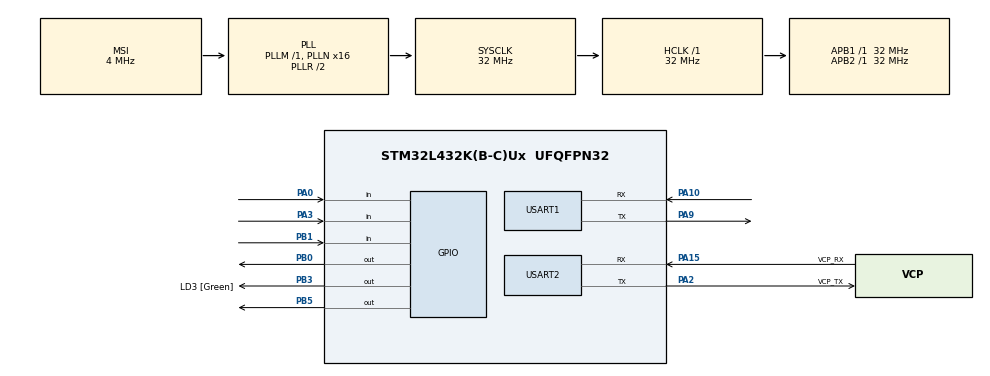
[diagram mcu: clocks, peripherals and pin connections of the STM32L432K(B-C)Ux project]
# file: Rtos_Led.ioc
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Dma.Request0=USART1_RX
Dma.USART1_RX.0.Direction=DMA_PERIPH_TO_MEMORY
Dma.USART1_RX.0.Instance=DMA1_Channel5
Dma.USART1_RX.0.MemDataAlignment=DMA_MDATAALIGN_BYTE
Dma.USART1_RX.0.MemInc=DMA_MINC_ENABLE
Dma.USART1_RX.0.Mode=DMA_CIRCULAR
Dma.USART1_RX.0.PeriphDataAlignment=DMA_PDATAALIGN_BYTE
Dma.USART1_RX.0.PeriphInc=DMA_PINC_DISABLE
Dma.USART1_RX.0.Priority=DMA_PRIORITY_LOW
FREERTOS.BinarySemaphores01=uartSema,Static,uartSemaControlBlock;counterSema2,Static,counterSema2ControlBlock
FREERTOS.Queues01=RotaryEncoderQueue,16,InputEvent,0,Static,RotaryEncoderQueueBuffer,RotaryEncoderQueueControlBlock
FREERTOS.Tasks01=LedTask,24,128,StartLedTask,Default,NULL,Static,LedTaskBuffer,LedTaskControlBlock;EncoderTask,8,128,StartEncoderTask,Default,NULL,Static,EncoderTaskBuffer,EncoderTaskControlBlock;defaultTask,8,128,StartDefaultTask,As weak,NULL,Dynamic,NULL,NULL
FREERTOS.configUSE_NEWLIB_REENTRANT=1
Mcu.Family=STM32L4
Mcu.Name=STM32L432K(B-C)Ux
Mcu.Package=UFQFPN32
NVIC.DMA1_Channel5_IRQn=true\:5\:0\:false\:false\:true\:true\:false\:true\:true
NVIC.PriorityGroup=NVIC_PRIORITYGROUP_4
NVIC.TIM6_DAC_IRQn=true\:15\:0\:false\:false\:true\:false\:false\:true\:true
NVIC.TimeBase=TIM6_DAC_IRQn
NVIC.TimeBaseIP=TIM6
NVIC.USART1_IRQn=true\:5\:0\:false\:false\:true\:true\:true\:true\:true
PA0.Signal=GPIO_Input
PA10.Mode=Asynchronous
PA10.Signal=USART1_RX
PA13\ (JTMS-SWDIO).GPIO_Label=SWDIO
PA13\ (JTMS-SWDIO).Mode=Serial_Wire
PA13\ (JTMS-SWDIO).Signal=SYS_JTMS-SWDIO
PA14\ (JTCK-SWCLK).GPIO_Label=SWCLK
PA14\ (JTCK-SWCLK).Mode=Serial_Wire
PA14\ (JTCK-SWCLK).Signal=SYS_JTCK-SWCLK
PA15\ (JTDI).GPIO_Label=VCP_RX
PA15\ (JTDI).Mode=Asynchronous
PA15\ (JTDI).Signal=USART2_RX
PA2.GPIO_Label=VCP_TX
PA2.Mode=Asynchronous
PA2.Signal=USART2_TX
PA3.Signal=GPIO_Input
PA9.Mode=Asynchronous
PA9.Signal=USART1_TX
PB0.Signal=GPIO_Output
PB1.Signal=GPIO_Input
PB3\ (JTDO-TRACESWO).GPIO_Label=LD3 [Green]
PB3\ (JTDO-TRACESWO).Signal=GPIO_Output
PB5.Signal=GPIO_Output
PC14-OSC32_IN\ (PC14).Mode=LSE-External-Oscillator
PC14-OSC32_IN\ (PC14).Signal=RCC_OSC32_IN
PC15-OSC32_OUT\ (PC15).Mode=LSE-External-Oscillator
PC15-OSC32_OUT\ (PC15).Signal=RCC_OSC32_OUT
ProjectManager.HeapSize=0x200
ProjectManager.StackSize=0x400
ProjectManager.TargetToolchain=STM32CubeIDE
RCC.AHBFreq_Value=32000000
RCC.APB1Freq_Value=32000000
RCC.APB1TimFreq_Value=32000000
RCC.APB2Freq_Value=32000000
RCC.APB2TimFreq_Value=32000000
RCC.CortexFreq_Value=32000000
RCC.HCLKFreq_Value=32000000
RCC.HSE_VALUE=8000000
RCC.HSI16_VALUE=16000000
RCC.HSI48_VALUE=48000000
RCC.HSI_VALUE=16000000
RCC.MSI_VALUE=4000000
RCC.PLLMUL=RCC_PLLMUL_4
RCC.PLLN=16
RCC.SYSCLKFreq_VALUE=32000000
RCC.SYSCLKSource=RCC_SYSCLKSOURCE_PLLCLK
RCC.VCOOutputFreq_Value=64000000
USART1.VirtualMode-Asynchronous=VM_ASYNC
USART2.VirtualMode-Asynchronous=VM_ASYNC
VP_FREERTOS_VS_CMSIS_V2.Mode=CMSIS_V2
VP_SYS_VS_tim6.Mode=TIM6
board=NUCLEO-L432KC

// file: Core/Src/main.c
/* USER CODE BEGIN Header */
/**
 ******************************************************************************
 * @file           : main.c
 * @brief          : Main program body
 ******************************************************************************
 * @attention
 *
 * Copyright (c) 2023 STMicroelectronics.
 * All rights reserved.
 *
 * This software is licensed under terms that can be found in the LICENSE file
 * in the root directory of this software component.
 * If no LICENSE file comes with this software, it is provided AS-IS.
 *
 ******************************************************************************
 */
/* USER CODE END Header */
#include "main.h"
#include "cmsis_os.h"

typedef StaticTask_t osStaticThreadDef_t;
typedef StaticQueue_t osStaticMessageQDef_t;
typedef StaticSemaphore_t osStaticSemaphoreDef_t;

/* USER CODE BEGIN PTD */
typedef struct  {
  bool button_pressed;
  int counter;
} InputEvent;

/* USER CODE END PTD */

/* USER CODE BEGIN PM */
#define LEDMIN 3
#define LEDMAX 11
#define LEDSTART 7

/* USER CODE END PM */
UART_HandleTypeDef huart1;
UART_HandleTypeDef huart2;
DMA_HandleTypeDef hdma_usart1_rx;

/* Definitions for LedTask */
osThreadId_t LedTaskHandle;
uint32_t LedTaskBuffer[ 128 ];
osStaticThreadDef_t LedTaskControlBlock;
const osThreadAttr_t LedTask_attributes = {
  .name = "LedTask",
  .cb_mem = &LedTaskControlBlock,
  .cb_size = sizeof(LedTaskControlBlock),
  .stack_mem = &LedTaskBuffer[0],
  .stack_size = sizeof(LedTaskBuffer),
  .priority = (osPriority_t) osPriorityNormal,
};
/* Definitions for EncoderTask */
osThreadId_t EncoderTaskHandle;
uint32_t EncoderTaskBuffer[ 128 ];
osStaticThreadDef_t EncoderTaskControlBlock;
const osThreadAttr_t EncoderTask_attributes = {
  .name = "EncoderTask",
  .cb_mem = &EncoderTaskControlBlock,
  .cb_size = sizeof(EncoderTaskControlBlock),
  .stack_mem = &EncoderTaskBuffer[0],
  .stack_size = sizeof(EncoderTaskBuffer),
  .priority = (osPriority_t) osPriorityLow,
};
/* Definitions for defaultTask */
osThreadId_t defaultTaskHandle;
const osThreadAttr_t defaultTask_attributes = {
  .name = "defaultTask",
  .stack_size = 128 * 4,
  .priority = (osPriority_t) osPriorityLow,
};
/* Definitions for RotaryEncoderQueue */
osMessageQueueId_t RotaryEncoderQueueHandle;
uint8_t RotaryEncoderQueueBuffer[ 16 * sizeof( InputEvent ) ];
osStaticMessageQDef_t RotaryEncoderQueueControlBlock;
const osMessageQueueAttr_t RotaryEncoderQueue_attributes = {
  .name = "RotaryEncoderQueue",
  .cb_mem = &RotaryEncoderQueueControlBlock,
  .cb_size = sizeof(RotaryEncoderQueueControlBlock),
  .mq_mem = &RotaryEncoderQueueBuffer,
  .mq_size = sizeof(RotaryEncoderQueueBuffer)
};
/* Definitions for uartSema */
osSemaphoreId_t uartSemaHandle;
osStaticSemaphoreDef_t uartSemaControlBlock;
const osSemaphoreAttr_t uartSema_attributes = {
  .name = "uartSema",
  .cb_mem = &uartSemaControlBlock,
  .cb_size = sizeof(uartSemaControlBlock),
};
/* Definitions for counterSema2 */
osSemaphoreId_t counterSema2Handle;
osStaticSemaphoreDef_t counterSema2ControlBlock;
const osSemaphoreAttr_t counterSema2_attributes = {
  .name = "counterSema2",
  .cb_mem = &counterSema2ControlBlock,
  .cb_size = sizeof(counterSema2ControlBlock),
};
/* USER CODE BEGIN PV */

// Create circular buffers
uint8_t uart1Buffer[BUFFER_SIZE];
uint8_t uart2Buffer[BUFFER_SIZE];

// Buffer indices
uint16_t uart1BufferIndex = 0;
uint16_t uart2BufferIndex = 0;

// temporaray data buffers
uint8_t uart2_rx_char;

// Task handles
TaskHandle_t xUartTaskHandle = NULL;

const char *xUartHandlerTaskName = "UartHandler";
const char *newLine = "\r\n";

/* USER CODE END PV */

void SystemClock_Config(void);
static void MX_GPIO_Init(void);
static void MX_DMA_Init(void);
static void MX_USART2_UART_Init(void);
static void MX_USART1_UART_Init(void);
void StartLedTask(void *argument);
void StartEncoderTask(void *argument);
void StartDefaultTask(void *argument);

/* USER CODE BEGIN PFP */
void StartTcpServer(void);
void SendATCommand(char *command);

/* USER CODE END PFP */

/* USER CODE BEGIN 0 */

/**Function for turning LED's on
 *
 */
void setleds(uint16_t ledring) {

	for (int i = 0; i < 16; i++) {

		if (ledring & (1 << i)) {
			HAL_GPIO_WritePin(GPIOB, GPIO_PIN_5, GPIO_PIN_SET);

		} else {
			HAL_GPIO_WritePin(GPIOB, GPIO_PIN_5, GPIO_PIN_RESET);
		}

		//SCK
		HAL_GPIO_WritePin(GPIOB, GPIO_PIN_3, GPIO_PIN_SET);

		HAL_GPIO_WritePin(GPIOB, GPIO_PIN_3, GPIO_PIN_RESET);

	}

	//Latch
	HAL_GPIO_WritePin(GPIOB, GPIO_PIN_0, GPIO_PIN_SET);
	HAL_GPIO_WritePin(GPIOB, GPIO_PIN_0, GPIO_PIN_RESET);
	HAL_GPIO_WritePin(GPIOB, GPIO_PIN_0, GPIO_PIN_SET);
}
/* USER CODE END 0 */

int main(void)
{

  /* MCU Configuration--------------------------------------------------------*/

  /* Reset of all peripherals, Initializes the Flash interface and the Systick. */
  HAL_Init();

  /* Configure the system clock */
  SystemClock_Config();

  /* Initialize all configured peripherals */
  MX_GPIO_Init();
  MX_DMA_Init();
  MX_USART2_UART_Init();
  MX_USART1_UART_Init();

  /* Init scheduler */
  osKernelInitialize();

  /* Create the semaphores(s) */
  /* creation of uartSema */
  uartSemaHandle = osSemaphoreNew(1, 1, &uartSema_attributes);

  /* creation of counterSema2 */
  counterSema2Handle = osSemaphoreNew(1, 1, &counterSema2_attributes);

  /* Create the queue(s) */
  /* creation of RotaryEncoderQueue */
  RotaryEncoderQueueHandle = osMessageQueueNew (16, sizeof(InputEvent), &RotaryEncoderQueue_attributes);

  /* Create the thread(s) */
  /* creation of LedTask */
  LedTaskHandle = osThreadNew(StartLedTask, NULL, &LedTask_attributes);

  /* creation of EncoderTask */
  EncoderTaskHandle = osThreadNew(StartEncoderTask, NULL, &EncoderTask_attributes);

  /* creation of defaultTask */
  defaultTaskHandle = osThreadNew(StartDefaultTask, NULL, &defaultTask_attributes);

  /* Start scheduler */
  osKernelStart();
  /* We should never get here as control is now taken by the scheduler */
  /* Infinite loop */
	while (1) {

	}
}

void SystemClock_Config(void)
{
  RCC_OscInitTypeDef RCC_OscInitStruct = {0};
  RCC_ClkInitTypeDef RCC_ClkInitStruct = {0};

  /** Configure the main internal regulator output voltage
  */
  if (HAL_PWREx_ControlVoltageScaling(PWR_REGULATOR_VOLTAGE_SCALE1) != HAL_OK)
  {
    Error_Handler();
  }

  /** Configure LSE Drive Capability
  */
  HAL_PWR_EnableBkUpAccess();
  __HAL_RCC_LSEDRIVE_CONFIG(RCC_LSEDRIVE_LOW);

  /** Initializes the RCC Oscillators according to the specified parameters
  * in the RCC_OscInitTypeDef structure.
  */
  RCC_OscInitStruct.OscillatorType = RCC_OSCILLATORTYPE_LSE|RCC_OSCILLATORTYPE_MSI;
  RCC_OscInitStruct.LSEState = RCC_LSE_ON;
  RCC_OscInitStruct.MSIState = RCC_MSI_ON;
  RCC_OscInitStruct.MSICalibrationValue = 0;
  RCC_OscInitStruct.MSIClockRange = RCC_MSIRANGE_6;
  RCC_OscInitStruct.PLL.PLLState = RCC_PLL_ON;
  RCC_OscInitStruct.PLL.PLLSource = RCC_PLLSOURCE_MSI;
  RCC_OscInitStruct.PLL.PLLM = 1;
  RCC_OscInitStruct.PLL.PLLN = 16;
  RCC_OscInitStruct.PLL.PLLP = RCC_PLLP_DIV7;
  RCC_OscInitStruct.PLL.PLLQ = RCC_PLLQ_DIV2;
  RCC_OscInitStruct.PLL.PLLR = RCC_PLLR_DIV2;
  if (HAL_RCC_OscConfig(&RCC_OscInitStruct) != HAL_OK)
  {
    Error_Handler();
  }

  /** Initializes the CPU, AHB and APB buses clocks
  */
  RCC_ClkInitStruct.ClockType = RCC_CLOCKTYPE_HCLK|RCC_CLOCKTYPE_SYSCLK
                              |RCC_CLOCKTYPE_PCLK1|RCC_CLOCKTYPE_PCLK2;
  RCC_ClkInitStruct.SYSCLKSource = RCC_SYSCLKSOURCE_PLLCLK;
  RCC_ClkInitStruct.AHBCLKDivider = RCC_SYSCLK_DIV1;
  RCC_ClkInitStruct.APB1CLKDivider = RCC_HCLK_DIV1;
  RCC_ClkInitStruct.APB2CLKDivider = RCC_HCLK_DIV1;

  if (HAL_RCC_ClockConfig(&RCC_ClkInitStruct, FLASH_LATENCY_1) != HAL_OK)
  {
    Error_Handler();
  }

  /** Enable MSI Auto calibration
  */
  HAL_RCCEx_EnableMSIPLLMode();
}

static void MX_USART1_UART_Init(void)
{

  huart1.Instance = USART1;
  huart1.Init.BaudRate = 115200;
  huart1.Init.WordLength = UART_WORDLENGTH_8B;
  huart1.Init.StopBits = UART_STOPBITS_1;
  huart1.Init.Parity = UART_PARITY_NONE;
  huart1.Init.Mode = UART_MODE_TX_RX;
  huart1.Init.HwFlowCtl = UART_HWCONTROL_NONE;
  huart1.Init.OverSampling = UART_OVERSAMPLING_16;
  huart1.Init.OneBitSampling = UART_ONE_BIT_SAMPLE_DISABLE;
  huart1.AdvancedInit.AdvFeatureInit = UART_ADVFEATURE_NO_INIT;
  if (HAL_UART_Init(&huart1) != HAL_OK)
  {
    Error_Handler();
  }

}

static void MX_USART2_UART_Init(void)
{

  huart2.Instance = USART2;
  huart2.Init.BaudRate = 115200;
  huart2.Init.WordLength = UART_WORDLENGTH_8B;
  huart2.Init.StopBits = UART_STOPBITS_1;
  huart2.Init.Parity = UART_PARITY_NONE;
  huart2.Init.Mode = UART_MODE_TX_RX;
  huart2.Init.HwFlowCtl = UART_HWCONTROL_NONE;
  huart2.Init.OverSampling = UART_OVERSAMPLING_16;
  huart2.Init.OneBitSampling = UART_ONE_BIT_SAMPLE_DISABLE;
  huart2.AdvancedInit.AdvFeatureInit = UART_ADVFEATURE_NO_INIT;
  if (HAL_UART_Init(&huart2) != HAL_OK)
  {
    Error_Handler();
  }

}

static void MX_DMA_Init(void)
{

  /* DMA controller clock enable */
  __HAL_RCC_DMA1_CLK_ENABLE();

  /* DMA interrupt init */
  /* DMA1_Channel5_IRQn interrupt configuration */
  HAL_NVIC_SetPriority(DMA1_Channel5_IRQn, 5, 0);
  HAL_NVIC_EnableIRQ(DMA1_Channel5_IRQn);

}

static void MX_GPIO_Init(void)
{
  GPIO_InitTypeDef GPIO_InitStruct = {0};

  /* GPIO Ports Clock Enable */
  __HAL_RCC_GPIOC_CLK_ENABLE();
  __HAL_RCC_GPIOA_CLK_ENABLE();
  __HAL_RCC_GPIOB_CLK_ENABLE();

  /*Configure GPIO pin Output Level */
  HAL_GPIO_WritePin(GPIOB, GPIO_PIN_0|LD3_Pin|GPIO_PIN_5, GPIO_PIN_RESET);

  /*Configure GPIO pins : PA0 PA3 */
  GPIO_InitStruct.Pin = GPIO_PIN_0|GPIO_PIN_3;
  GPIO_InitStruct.Mode = GPIO_MODE_INPUT;
  GPIO_InitStruct.Pull = GPIO_NOPULL;
  HAL_GPIO_Init(GPIOA, &GPIO_InitStruct);

  /*Configure GPIO pins : PB0 LD3_Pin PB5 */
  GPIO_InitStruct.Pin = GPIO_PIN_0|LD3_Pin|GPIO_PIN_5;
  GPIO_InitStruct.Mode = GPIO_MODE_OUTPUT_PP;
  GPIO_InitStruct.Pull = GPIO_NOPULL;
  GPIO_InitStruct.Speed = GPIO_SPEED_FREQ_LOW;
  HAL_GPIO_Init(GPIOB, &GPIO_InitStruct);

  /*Configure GPIO pin : PB1 */
  GPIO_InitStruct.Pin = GPIO_PIN_1;
  GPIO_InitStruct.Mode = GPIO_MODE_INPUT;
  GPIO_InitStruct.Pull = GPIO_NOPULL;
  HAL_GPIO_Init(GPIOB, &GPIO_InitStruct);

}

/* USER CODE BEGIN 4 */

void SendATCommand(char *command) {
	// The command sent MUST NOT contain a newline, otherwise it might be error-prone
	uint8_t cmd_length = strlen(command); // If your string is not NULL-Terminated this will cause errors!
	uint8_t *buffer = (uint8_t*)pvPortMalloc(sizeof(char)*cmd_length+2);
	strncpy((char*)buffer, command, cmd_length);
	buffer[cmd_length] = '\r';
	buffer[cmd_length+1] = '\n';
	HAL_UART_Transmit(&huart1, buffer, cmd_length+2, HAL_MAX_DELAY);
	vPortFree(buffer);
}

void StartTcpServer(void) {
	/* Debugging by jD */
	strcpy((char*)uart1Buffer, "connecnt to tcp server!\n\r");
	// semaComment
	if (osSemaphoreAcquire(uartSemaHandle, 10) == osOK) {
		HAL_UART_Transmit(&huart2, uart1Buffer, strlen((char*)uart1Buffer), HAL_MAX_DELAY);
		osSemaphoreRelease(uartSemaHandle);
	}
	strcpy((char*)uart1Buffer, "\0");

	// Configure Station+AP Mode
	SendATCommand("AT+CWMODE=1");
	osDelay(2000);

	SendATCommand("AT+CIPSTA=\"192.168.5.10\"");
	osDelay(1000);

	// connect to tcp server
	SendATCommand("AT+CWJAP=\"TheDrive\",\"1234567890\"");
	osDelay(3000);

	SendATCommand("AT+CIPSTART=\"TCP\",\"192.168.5.5\",80");
	osDelay(1000);

	// Gets the Local IP Address
	SendATCommand("AT+CIFSR");
	osDelay(1000);
}

void UartHandlerTask(void *argument) {
	uint32_t ulNotificationValue;
	static size_t old_pos = 0;  // Track the position of last character processed

	while(1) {
		// Wait for a task notification indicating an uart event
		if(xTaskNotifyWait(0x00, UINT32_MAX, &ulNotificationValue, portMAX_DELAY) == pdPASS) {

			if(ulNotificationValue & UART1_IDLE_EVENT) { // Received message from UART1

				size_t new_pos = BUFFER_SIZE - huart1.hdmarx->Instance->CNDTR; // huart1->hdmarx->Instance->CNDTR;  // Compute the new position in the buffer
				size_t length;

				if(new_pos != old_pos) { // Check if any new data is received
					// The transmissions here are also in blocking mode, otherwise output is cutoff!
					// If received data is BIGGER than buffer size, then output will be cutoff! (=> Increase buffer size)

					if (new_pos > old_pos) { // If data does not wrap around the buffer
						length = new_pos - old_pos;
						// Process your data => uart1Buffer[old_pos] TO uart1Buffer[old_pos+length] == Received DATA

						// semaComment
						if (osSemaphoreAcquire(uartSemaHandle, 10) == osOK) {
							HAL_UART_Transmit(&huart2, &uart1Buffer[old_pos], length, HAL_MAX_DELAY);
							osSemaphoreRelease(uartSemaHandle);
						}

					} else { // If data wraps around the buffer
						// If you process data in here, you'll need to partially construct your data

						// First transmit the data until the end of the buffer
						length = BUFFER_SIZE - old_pos;

						// semaComment
						if (osSemaphoreAcquire(uartSemaHandle, 10) == osOK) {
							HAL_UART_Transmit(&huart2, &uart1Buffer[old_pos], length, HAL_MAX_DELAY);
							osSemaphoreRelease(uartSemaHandle);
						}

						// Then transmit the remaining data from the beginning of the buffer
						length = new_pos;

						// semaComment
						if (osSemaphoreAcquire(uartSemaHandle, 10) == osOK) {
							HAL_UART_Transmit(&huart2, uart1Buffer, length, HAL_MAX_DELAY);
							osSemaphoreRelease(uartSemaHandle);
						}
					}

					old_pos = new_pos;  // Update the position of the last character processed
				}
			}

			if (ulNotificationValue & UART2_EVENT) { // Received CHARACTER from UART2
				char c = (char)uart2_rx_char;

				// Echo back the character to the terminal
				// semaComment
				if (osSemaphoreAcquire(uartSemaHandle, 10) == osOK) {
					HAL_UART_Transmit_IT(&huart2, (uint8_t*)&c, 1);
					osSemaphoreRelease(uartSemaHandle);
				}

				// If newline, forward the buffer to UART1 and reset buffer
				if(c == '\r') {
					uart2Buffer[uart2BufferIndex++] = '\r';
					uart2Buffer[uart2BufferIndex++] = '\n';

					// semaComment
					if (osSemaphoreAcquire(uartSemaHandle, 10) == osOK) {
						HAL_UART_Transmit_IT(&huart2, (uint8_t*)newLine, 2);
						osSemaphoreRelease(uartSemaHandle);
					}

					// This call will be made in blocking mode, because we'll clear the buffer!
					HAL_UART_Transmit(&huart1, uart2Buffer, uart2BufferIndex, HAL_MAX_DELAY);
					memset(uart2Buffer, 0, BUFFER_SIZE);
					uart2BufferIndex = 0;

					// Hier kommt Code rein

				} else {
					// Add character to buffer
					uart2Buffer[uart2BufferIndex++] = c;
				}
			}
		}
	}
}

/*
Interrupt callback routine for UART */
void HAL_UART_RxCpltCallback(UART_HandleTypeDef *huart) {
	if(huart->Instance == USART2) {
		BaseType_t xHigherPriorityTaskWoken = pdFALSE;
		xTaskNotifyFromISR(xUartTaskHandle, UART2_EVENT, eSetBits, &xHigherPriorityTaskWoken);
		portYIELD_FROM_ISR(xHigherPriorityTaskWoken);

		// Restart reception with interrupt
		HAL_UART_Receive_IT(&huart2, &uart2_rx_char, 1);
	}
}

/* USER CODE END 4 */

/* USER CODE BEGIN Header_StartLedTask */
/**
 * @brief  Function implementing the LedTask thread.
 * 		   Setting LED's if button was pressed (was meant for pause pattern)
 * @param  argument: Not used
 * @retval None
 */
/* USER CODE END Header_StartLedTask */
void StartLedTask(void *argument)
{
  /* USER CODE BEGIN 5 */
	InputEvent event;
	/* Infinite loop */
	for (;;) {

		//read item from queue
		osStatus_t ret = osMessageQueueGet(RotaryEncoderQueueHandle, &event, 0,
				10);
		if (ret != osOK) {
			//something went wrong
			printf("\r\ncannot read item from queue");
		} else {
			printf("\r\nread item");

			uint32_t value;

			//button press -> led values
			if (event.button_pressed) {
				value = 0b1010101010101010;
			} else {
				value = 1 << event.counter;
			}
			//display on leds
			setleds(value);
		}

		osDelay(2);
	}
  /* USER CODE END 5 */
}

/* USER CODE BEGIN Header_StartEncoderTask */
/**
 * @brief Function implementing the EncoderTask thread.
 * 		  Checking for Change of the Encoder to only highlight the LED showing the position of the encoder in
 * 		  game.
 * @param argument: Not used
 * @retval None
 */
/* USER CODE END Header_StartEncoderTask */
void StartEncoderTask(void *argument)
{
  /* USER CODE BEGIN StartEncoderTask */
	uint16_t counter = 8;
	uint8_t old_state_a = 0;
	uint8_t old_state_button = 0;
	InputEvent event;
	event.button_pressed = true;
	event.counter = LEDSTART;
	InputEvent oldevent;
	/* Infinite loop */
	for (;;) {

		//Input states
		uint8_t a = HAL_GPIO_ReadPin(GPIOA, GPIO_PIN_0);
		uint8_t b = HAL_GPIO_ReadPin(GPIOB, GPIO_PIN_1);
		uint8_t button = HAL_GPIO_ReadPin(GPIOA, GPIO_PIN_3);

		//Encoder rotation
		if (a != old_state_a && event.counter <= 16) {

			if (a != b) {
				if (LEDMAX > event.counter)
					event.counter++;

			} else if (LEDMIN != event.counter) {
				event.counter--;
			}
		}

		//Button press
		if (old_state_button != button && button) {
			event.button_pressed = !event.button_pressed;
			event.counter = LEDSTART;
		}

		//Check if event has changed
		if (memcmp(&oldevent, &event, sizeof(event))) {

			char msg1[16];
			snprintf(msg1, sizeof(msg1), "%d\r\n", event.counter -3);

			// semaComment
			if (osSemaphoreAcquire(uartSemaHandle, 10) == osOK) {
				HAL_UART_Transmit(&huart2, (uint8_t*) msg1, strlen(msg1), 1000);
				osSemaphoreRelease(uartSemaHandle);

				SendATCommand("AT+CIPSEND=1");
				osDelay(100);

				SendATCommand(msg1);
				osDelay(100);
			}

			osStatus_t ret = osMessageQueuePut(RotaryEncoderQueueHandle,
					&event, 0, 10);

			if (ret != osOK) {
				//something went wrong
				printf("\r\ncannot enqueue item %u", counter);
			} else {
				printf("\r\nenqueued item %u", counter);
			}
		}

		//Update the states
		old_state_a = a;
		old_state_button = button;
		memcpy(&oldevent, &event, sizeof(event));
		osDelay(1);
	}
  /* USER CODE END StartEncoderTask */
}

void StartDefaultTask(void *argument)
{
  /* USER CODE BEGIN StartDefaultTask */

	/* Debugging by jD */
	strcpy((char*)uart1Buffer, "start broadcaster!\n\r");

	// semaComment
	if (osSemaphoreAcquire(uartSemaHandle, 10) == osOK) {
		HAL_UART_Transmit(&huart2, uart1Buffer, strlen((char*)uart1Buffer), HAL_MAX_DELAY);
		osSemaphoreRelease(uartSemaHandle);
	}
	strcpy((char*)uart1Buffer, "\0");

	xTaskCreate(UartHandlerTask, xUartHandlerTaskName, 128, NULL, osPriorityNormal1, &xUartTaskHandle);

	// Activate UART interrupts and reception
	LL_USART_EnableIT_IDLE(USART1); // Enable idle line detection (interrupt) for uart1
	// NOTE: Please check stm32l4xx_it.c for the USER-CODE that handles the IDLE Line Interrupt!!
	HAL_UART_Receive_DMA(&huart1, uart1Buffer, BUFFER_SIZE);

	StartTcpServer();

	HAL_UART_Receive_IT(&huart2, &uart2_rx_char, 1);

	osThreadExit();

	/* Infinite loop
	for(;;) {
		osDelay(1);
	} */
  /* USER CODE END StartDefaultTask */
}

void HAL_TIM_PeriodElapsedCallback(TIM_HandleTypeDef *htim)
{
  if (htim->Instance == TIM6) {
    HAL_IncTick();
  }
}

void Error_Handler(void)
{
	__disable_irq();
	while (1) {
	}
}

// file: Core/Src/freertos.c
/* USER CODE BEGIN Header */
/**
  ******************************************************************************
  * File Name          : freertos.c
  * Description        : Code for freertos applications
  ******************************************************************************
  * @attention
  *
  * Copyright (c) 2023 STMicroelectronics.
  * All rights reserved.
  *
  * This software is licensed under terms that can be found in the LICENSE file
  * in the root directory of this software component.
  * If no LICENSE file comes with this software, it is provided AS-IS.
  *
  ******************************************************************************
  */
/* USER CODE END Header */

#include "FreeRTOS.h"
#include "task.h"
#include "main.h"
#include "cmsis_os.h"

/* Definitions for defaultTask */
osThreadId_t defaultTaskHandle;
const osThreadAttr_t defaultTask_attributes = {
  .name = "defaultTask",
  .stack_size = 64 * 4,
  .priority = (osPriority_t) osPriorityHigh,
};

void StartDefaultTask(void *argument);

void MX_FREERTOS_Init(void); /* (MISRA C 2004 rule 8.1) */

void MX_FREERTOS_Init(void) {

  /* Create the thread(s) */
  /* creation of defaultTask */
  defaultTaskHandle = osThreadNew(StartDefaultTask, NULL, &defaultTask_attributes);

}

__weak void StartDefaultTask(void *argument)
{
  for(;;)
  {
    osDelay(1);
  }
}
